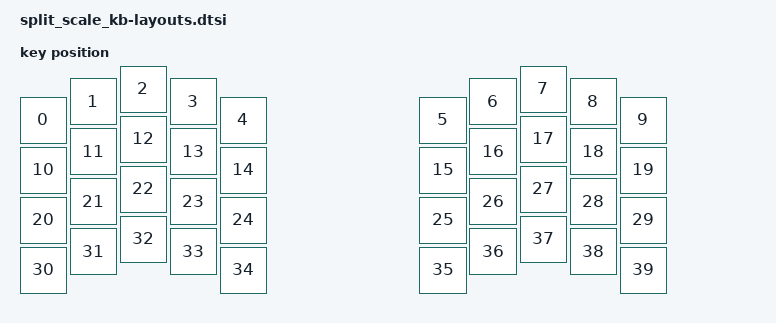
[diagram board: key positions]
#include <physical_layouts.dtsi>

/ {
    physical_layout_split_scale_kb: physical_layout_split_scale_kb {
        compatible = "zmk,physical-layout";
        display-name = "Split Scale KB";
        keys  //                     w   h    x    y     rot    rx    ry
            = <&key_physical_attrs 100 100    0   62       0     0     0>
            , <&key_physical_attrs 100 100  100   25       0     0     0>
            , <&key_physical_attrs 100 100  200    0       0     0     0>
            , <&key_physical_attrs 100 100  300   25       0     0     0>
            , <&key_physical_attrs 100 100  400   62       0     0     0>
            , <&key_physical_attrs 100 100  800   62       0     0     0>
            , <&key_physical_attrs 100 100  900   25       0     0     0>
            , <&key_physical_attrs 100 100 1000    0       0     0     0>
            , <&key_physical_attrs 100 100 1100   25       0     0     0>
            , <&key_physical_attrs 100 100 1200   62       0     0     0>
            , <&key_physical_attrs 100 100    0  162       0     0     0>
            , <&key_physical_attrs 100 100  100  125       0     0     0>
            , <&key_physical_attrs 100 100  200  100       0     0     0>
            , <&key_physical_attrs 100 100  300  125       0     0     0>
            , <&key_physical_attrs 100 100  400  162       0     0     0>
            , <&key_physical_attrs 100 100  800  162       0     0     0>
            , <&key_physical_attrs 100 100  900  125       0     0     0>
            , <&key_physical_attrs 100 100 1000  100       0     0     0>
            , <&key_physical_attrs 100 100 1100  125       0     0     0>
            , <&key_physical_attrs 100 100 1200  162       0     0     0>
            , <&key_physical_attrs 100 100    0  262       0     0     0>
            , <&key_physical_attrs 100 100  100  225       0     0     0>
            , <&key_physical_attrs 100 100  200  200       0     0     0>
            , <&key_physical_attrs 100 100  300  225       0     0     0>
            , <&key_physical_attrs 100 100  400  262       0     0     0>
            , <&key_physical_attrs 100 100  800  262       0     0     0>
            , <&key_physical_attrs 100 100  900  225       0     0     0>
            , <&key_physical_attrs 100 100 1000  200       0     0     0>
            , <&key_physical_attrs 100 100 1100  225       0     0     0>
            , <&key_physical_attrs 100 100 1200  262       0     0     0>
            , <&key_physical_attrs 100 100    0  362       0     0     0>
            , <&key_physical_attrs 100 100  100  325       0     0     0>
            , <&key_physical_attrs 100 100  200  300       0     0     0>
            , <&key_physical_attrs 100 100  300  325       0     0     0>
            , <&key_physical_attrs 100 100  400  362       0     0     0>
            , <&key_physical_attrs 100 100  800  362       0     0     0>
            , <&key_physical_attrs 100 100  900  325       0     0     0>
            , <&key_physical_attrs 100 100 1000  300       0     0     0>
            , <&key_physical_attrs 100 100 1100  325       0     0     0>
            , <&key_physical_attrs 100 100 1200  362       0     0     0>
            ;
    };
};
